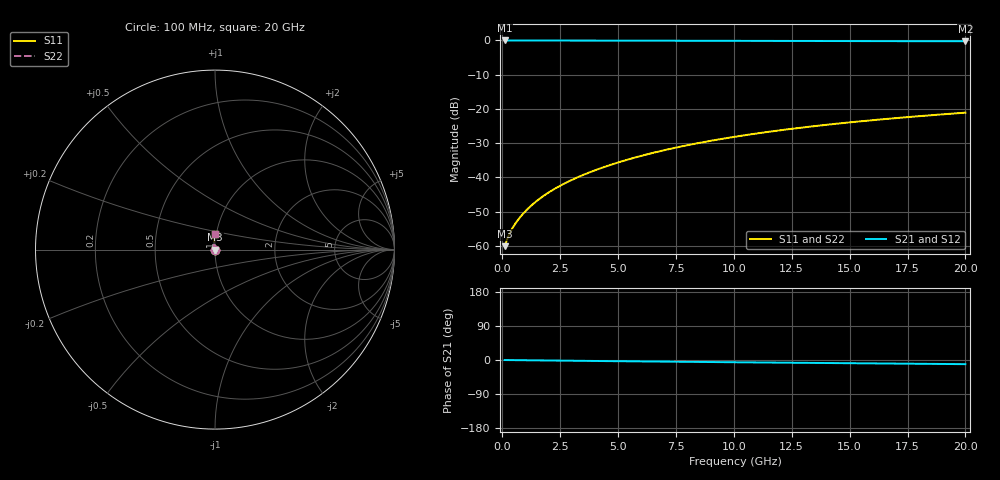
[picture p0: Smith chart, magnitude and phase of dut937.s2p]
! Touchstone file exported from HFSS 2024.1.0
!  File:  C:/UserFiles/LocalFiles/RDL_TSV_Batchsim/temp_RDL_top_937_1779937372.aedt
!  Generated:  11:05:44 AM May 28, 2026
!  Design:  RDL_top
!  Project:  temp_RDL_top_937_1779937372
!  Setup:  Setup1
!  Solution:  Sweep
! Variables:
!  dtsv = 10.80580581um
!  hbump = 3um
!  htsv = 76.25um
!  ldown = 100um
!  lrdl = 161.17um
!  p = 40
!  p1 = 42.31um
!  rhole = 1um
!  t = 450um
!  tdown = 3.915915916um
!  trdl = 3.17um
!  wdown = 15.38538539um
!  wrdl = 29.12um
# GHz S MA R 50.000000
! Terminal data exported
! Port[1] = Box2_T1
! Port[2] = Box2_T2
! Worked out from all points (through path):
!   200 points, 100 MHz to 20 GHz, reference 50 ohm
!   highest |S21| = -0.01 dB at 100 MHz (marker M1); lowest = -0.2 dB at 20 GHz (marker M2)
!   group delay of S21, straight-line fit = 1.5 ps
!   lowest |S11| = -60.1 dB at 100 MHz (marker M3), VSWR 1.00, Z = 50.1 + j0.0389 ohm
!   |S11| at or under -10 dB: start of sweep to end of sweep
!   |S22| runs from -60.1 to -21.1 dB; largest |S21 - S12| = 2.5e-15
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0.1  0.0009936 23.0  0.9991 -0.1  0.9991 -0.1  0.0009936 23.0
! Gamma 0 0 0 0
! Port Impedance 50 0 50 0
0.3  0.001479 45.7  0.9989 -0.2  0.9989 -0.2  0.001479 45.7
0.4  0.001727 51.4  0.9989 -0.3  0.9989 -0.3  0.001727 51.4
0.5  0.00197 55.9  0.9988 -0.3  0.9988 -0.3  0.00197 55.9
0.6  0.002212 59.7  0.9987 -0.4  0.9987 -0.4  0.002212 59.7
0.8  0.002704 65.8  0.9986 -0.5  0.9986 -0.5  0.002704 65.8
1  0.003216 70.5  0.9985 -0.7  0.9985 -0.7  0.003216 70.5
1.2  0.003747 74.2  0.9984 -0.8  0.9984 -0.8  0.003747 74.2
1.7  0.005146 80.9  0.998 -1.1  0.998 -1.1  0.005146 80.9
2.2  0.006637 85.4  0.9975 -1.4  0.9975 -1.4  0.006637 85.4
2.8  0.008539 89.2  0.9969 -1.8  0.9969 -1.8  0.008539 89.2
3.5  0.01091 92.2  0.9959 -2.3  0.9959 -2.3  0.01091 92.2
4.2  0.01345 94.4  0.9949 -2.7  0.9949 -2.7  0.01345 94.4
5  0.01655 96.0  0.9936 -3.2  0.9936 -3.2  0.01655 96.0
5.9  0.02025 97.1  0.992 -3.7  0.992 -3.7  0.02025 97.1
6.8  0.02414 97.6  0.9904 -4.2  0.9904 -4.2  0.02414 97.6
8.4  0.03145 97.6  0.9876 -5.1  0.9876 -5.1  0.03145 97.6
10.1  0.03955 96.9  0.9849 -6.0  0.9849 -6.0  0.03955 96.9
11.7  0.04736 95.7  0.9825 -6.8  0.9825 -6.8  0.04736 95.7
13.4  0.05574 94.4  0.9801 -7.7  0.9801 -7.7  0.05574 94.4
16.7  0.07205 91.6  0.9761 -9.3  0.9761 -9.3  0.07205 91.6
20  0.08822 88.8  0.9726 -11.0  0.9726 -11.0  0.08822 88.8
